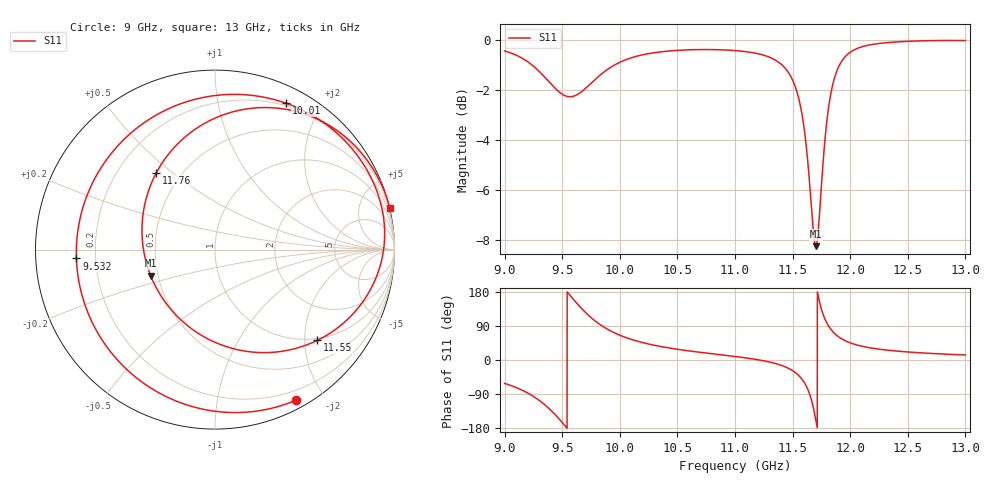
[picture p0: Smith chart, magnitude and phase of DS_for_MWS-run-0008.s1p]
! TOUCHSTONE file generated by CST DESIGN STUDIO
! Date and time: Tue Feb  4 16:42:42 2025
! Project name: C:\Work\MatlabApps\UnitCellOptimizationMatlab\CST\unitcell.cst
! Tree item: Tasks\Sweep1\SPara1\S-Parameters
! Header version: 2024
! Port assignment regex: !\s*Touchstone port\s*([0-9]+)\s*=\s*(CST MWS port|CST DES external port|CST DES block port)\s*(.+)\s* \(\"(.*)\"\)(\s*mode\s*([0-9]+))?.*
! Touchstone port assignment:
! Touchstone port 1 = CST DES external port 1 ("")
# GHz S MA R 50
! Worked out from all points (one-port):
!   4001 points, 9 GHz to 13 GHz, reference 50 ohm
!   lowest |S11| = -8.3 dB at 11.7 GHz (marker M1), VSWR 2.26, Z = 22.8 - j7.79 ohm
!   |S11| at or under -10 dB: nowhere
!   S11 on the Smith chart (normalised r, x): 9 GHz: 0.09, -1.67; 9.532 GHz: 0.13, -0.03; 10.01 GHz: 0.17, +1.58; 11.55 GHz: 0.95, -2.30; 11.76 GHz: 0.37, +0.44; 13 GHz: 0.01, +8.60
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9  0.9526 -61.7
9.142  0.9242 -78.2
9.292  0.8705 -104.6
9.394  0.8222 -130.5
9.5  0.7803 -164.9
9.532  0.7738 -176.3
9.624  0.7774 150.7
9.746  0.8189 113.0
9.855  0.8618 88.2
10  0.9041 65.4
10.01  0.9063 64.2
10.219  0.9382 44.3
10.5  0.9553 28.3
11  0.9545 9.3
11.332  0.9183 -7.7
11.5  0.8327 -28.2
11.555  0.762 -41.6
11.638  0.5504 -81.9
11.669  0.4449 -111.9
11.701  0.3867 -157.9
11.757  0.5389 127.3
11.796  0.6851 98.4
11.839  0.7976 78.4
11.911  0.8964 58.6
12  0.9471 45.2
12.184  0.9812 31.6
12.5  0.9961 21.2
13  0.9996 13.3
